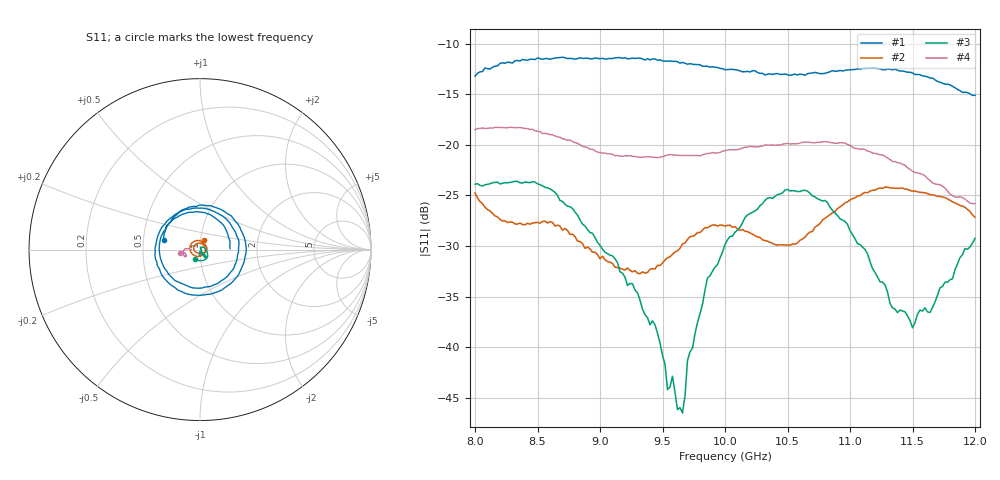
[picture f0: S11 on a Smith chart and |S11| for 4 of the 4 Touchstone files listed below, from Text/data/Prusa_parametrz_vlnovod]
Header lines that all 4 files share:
#  HZ  S  DB  R  50.00
! Rohde & Schwarz ZVA67 4Ports - Version 3.60 - 1305.7002k04 SN: 101051
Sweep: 8 GHz to 12 GHz
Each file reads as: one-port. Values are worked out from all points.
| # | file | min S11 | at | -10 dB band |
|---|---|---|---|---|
| 1 | prechorR100_spaectrum.s1p | -15.1 dB | 11.98 GHz | over 4 GHz wide |
| 2 | trychtyr_graphen_function.s1p | -32.7 dB | 9.32 GHz | over 4 GHz wide |
| 3 | trychtyr_graphen_function_CALpriruba.s1p | -46.5 dB | 9.66 GHz | over 4 GHz wide |
| 4 | trychtyr_pet_EMI_mladec_CALpriruba.s1p | -25.8 dB | 11.98 GHz | over 4 GHz wide |
